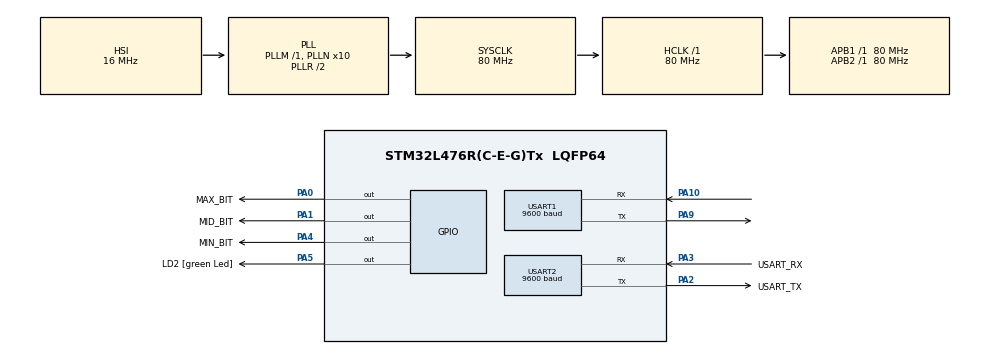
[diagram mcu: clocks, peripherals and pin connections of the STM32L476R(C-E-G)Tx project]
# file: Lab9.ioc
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Mcu.Family=STM32L4
Mcu.Name=STM32L476R(C-E-G)Tx
Mcu.Package=LQFP64
NVIC.PriorityGroup=NVIC_PRIORITYGROUP_4
NVIC.USART1_IRQn=true\:0\:0\:false\:false\:true\:true\:true\:true
NVIC.USART2_IRQn=true\:0\:0\:false\:false\:true\:true\:true\:true
PA0.GPIO_Label=MAX_BIT
PA0.Signal=GPIO_Output
PA1.GPIO_Label=MID_BIT
PA1.Signal=GPIO_Output
PA10.Mode=Asynchronous
PA10.Signal=USART1_RX
PA13\ (JTMS-SWDIO).GPIO_Label=TMS
PA13\ (JTMS-SWDIO).Mode=Serial_Wire
PA13\ (JTMS-SWDIO).Signal=SYS_JTMS-SWDIO
PA14\ (JTCK-SWCLK).GPIO_Label=TCK
PA14\ (JTCK-SWCLK).Mode=Serial_Wire
PA14\ (JTCK-SWCLK).Signal=SYS_JTCK-SWCLK
PA2.GPIO_Label=USART_TX
PA2.GPIO_Mode=GPIO_MODE_AF_PP
PA2.GPIO_PuPd=GPIO_NOPULL
PA2.GPIO_Speed=GPIO_SPEED_FREQ_VERY_HIGH
PA2.Mode=Asynchronous
PA2.Signal=USART2_TX
PA3.GPIO_Label=USART_RX
PA3.GPIO_Mode=GPIO_MODE_AF_PP
PA3.GPIO_PuPd=GPIO_NOPULL
PA3.GPIO_Speed=GPIO_SPEED_FREQ_VERY_HIGH
PA3.Mode=Asynchronous
PA3.Signal=USART2_RX
PA4.GPIO_Label=MIN_BIT
PA4.Signal=GPIO_Output
PA5.GPIO_Label=LD2 [green Led]
PA5.GPIO_ModeDefaultOutputPP=GPIO_MODE_OUTPUT_PP
PA5.GPIO_PuPd=GPIO_NOPULL
PA5.GPIO_Speed=GPIO_SPEED_FREQ_LOW
PA5.Signal=GPIO_Output
PA9.Mode=Asynchronous
PA9.Signal=USART1_TX
PB3\ (JTDO-TRACESWO).GPIO_Label=SWO
PB3\ (JTDO-TRACESWO).Signal=SYS_JTDO-SWO
PC14-OSC32_IN\ (PC14).Mode=LSE-External-Oscillator
PC14-OSC32_IN\ (PC14).Signal=RCC_OSC32_IN
PC15-OSC32_OUT\ (PC15).Mode=LSE-External-Oscillator
PC15-OSC32_OUT\ (PC15).Signal=RCC_OSC32_OUT
PH0-OSC_IN\ (PH0).Signal=RCC_OSC_IN
PH1-OSC_OUT\ (PH1).Signal=RCC_OSC_OUT
ProjectManager.HeapSize=0x200
ProjectManager.StackSize=0x400
ProjectManager.TargetToolchain=STM32CubeIDE
RCC.ADCFreq_Value=64000000
RCC.AHBFreq_Value=80000000
RCC.APB1Freq_Value=80000000
RCC.APB1TimFreq_Value=80000000
RCC.APB2Freq_Value=80000000
RCC.APB2TimFreq_Value=80000000
RCC.CortexFreq_Value=80000000
RCC.HCLKFreq_Value=80000000
RCC.HSE_VALUE=8000000
RCC.HSI_VALUE=16000000
RCC.MSI_VALUE=4000000
RCC.PLLN=10
RCC.PLLSourceVirtual=RCC_PLLSOURCE_HSI
RCC.PREFETCH_ENABLE=1
RCC.SYSCLKFreq_VALUE=80000000
RCC.SYSCLKSource=RCC_SYSCLKSOURCE_PLLCLK
RCC.USBFreq_Value=64000000
RCC.VCOOutputFreq_Value=160000000
USART1.BaudRate=9600
USART1.VirtualMode-Asynchronous=VM_ASYNC
USART2.BaudRate=9600
USART2.VirtualMode-Asynchronous=VM_ASYNC
board=NUCLEO-L476RG

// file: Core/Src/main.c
/* USER CODE BEGIN Header */
/**
  ******************************************************************************
  * @file           : main.c
  * @brief          : Main program body
  ******************************************************************************
  * @attention
  *
  * Copyright (c) 2024 STMicroelectronics.
  * All rights reserved.
  *
  * This software is licensed under terms that can be found in the LICENSE file
  * in the root directory of this software component.
  * If no LICENSE file comes with this software, it is provided AS-IS.
  *
  ******************************************************************************
  */
/* USER CODE END Header */
#include "main.h"

/* USER CODE BEGIN Includes */
#include "string.h" // library for C strings
#include <stdbool.h> // library for bool data type
/* USER CODE END Includes */

/* USER CODE BEGIN PM */
#define UART_DELAY 100 // wait max of 100 ms between frames in message
#define MAX_MESSAGE_SIZE 100 // 100 characters maximum message size
/* USER CODE END PM */

UART_HandleTypeDef huart1;
UART_HandleTypeDef huart2;

/* USER CODE BEGIN PV */
uint8_t message[MAX_MESSAGE_SIZE] = {0}; // char array to store message received
uint8_t response[MAX_MESSAGE_SIZE] = {0}; // char array to store response message
uint8_t uart1_byte; // byte received from UART1
uint8_t uart2_byte; // byte received from UART2
uint8_t buffer_position = 0; // how many bytes received so far
bool blink0 = false;// LED blink status
bool blink1 = false; // max bit
bool blink2 = false; // mid bit
bool blink3 = false; // min bit

/* USER CODE END PV */

void SystemClock_Config(void);
static void MX_GPIO_Init(void);
static void MX_USART2_UART_Init(void);
static void MX_USART1_UART_Init(void);

int main(void)
{

  /* MCU Configuration--------------------------------------------------------*/

  /* Reset of all peripherals, Initializes the Flash interface and the Systick. */
  HAL_Init();

  /* Configure the system clock */
  SystemClock_Config();

  /* Initialize all configured peripherals */
  MX_GPIO_Init();
  MX_USART2_UART_Init();
  MX_USART1_UART_Init();
  /* USER CODE BEGIN 2 */
  // Start UART1 and UART2 to receive interrupts
  HAL_UART_Receive_IT(&huart1, &uart1_byte, 1); // put byte from UART1 in "uart1_byte"
  HAL_UART_Receive_IT(&huart2, &uart2_byte, 1); // put byte from UART2 in "uart2_byte"

  /* USER CODE END 2 */

  /* Infinite loop */
  while (1)
  {

    /* USER CODE BEGIN 3 */
	  if (blink0){
	   HAL_GPIO_TogglePin(LD2_GPIO_Port, LD2_Pin); // Toggle LED2
	   HAL_Delay(200); // wait 200 ms
	  }
	  if (blink1){
	   	HAL_GPIO_TogglePin(MAX_BIT_GPIO_Port, MAX_BIT_Pin); // Toggle max bit
	   	HAL_Delay(200); // wait 200 ms
	  }
	  if (blink2){
	  	   	HAL_GPIO_TogglePin(MID_BIT_GPIO_Port, MID_BIT_Pin); // Toggle mid bit
	  	   	HAL_Delay(200); // wait 200 ms
	  }
	  if (blink3){
	  	   	HAL_GPIO_TogglePin(MIN_BIT_GPIO_Port, MIN_BIT_Pin); // Toggle min bit
	  	   	HAL_Delay(200); // wait 200 ms
	  }
  }
  /* USER CODE END 3 */
}

void SystemClock_Config(void)
{
  RCC_OscInitTypeDef RCC_OscInitStruct = {0};
  RCC_ClkInitTypeDef RCC_ClkInitStruct = {0};

  /** Configure the main internal regulator output voltage
  */
  if (HAL_PWREx_ControlVoltageScaling(PWR_REGULATOR_VOLTAGE_SCALE1) != HAL_OK)
  {
    Error_Handler();
  }

  /** Initializes the RCC Oscillators according to the specified parameters
  * in the RCC_OscInitTypeDef structure.
  */
  RCC_OscInitStruct.OscillatorType = RCC_OSCILLATORTYPE_HSI;
  RCC_OscInitStruct.HSIState = RCC_HSI_ON;
  RCC_OscInitStruct.HSICalibrationValue = RCC_HSICALIBRATION_DEFAULT;
  RCC_OscInitStruct.PLL.PLLState = RCC_PLL_ON;
  RCC_OscInitStruct.PLL.PLLSource = RCC_PLLSOURCE_HSI;
  RCC_OscInitStruct.PLL.PLLM = 1;
  RCC_OscInitStruct.PLL.PLLN = 10;
  RCC_OscInitStruct.PLL.PLLP = RCC_PLLP_DIV7;
  RCC_OscInitStruct.PLL.PLLQ = RCC_PLLQ_DIV2;
  RCC_OscInitStruct.PLL.PLLR = RCC_PLLR_DIV2;
  if (HAL_RCC_OscConfig(&RCC_OscInitStruct) != HAL_OK)
  {
    Error_Handler();
  }

  /** Initializes the CPU, AHB and APB buses clocks
  */
  RCC_ClkInitStruct.ClockType = RCC_CLOCKTYPE_HCLK|RCC_CLOCKTYPE_SYSCLK
                              |RCC_CLOCKTYPE_PCLK1|RCC_CLOCKTYPE_PCLK2;
  RCC_ClkInitStruct.SYSCLKSource = RCC_SYSCLKSOURCE_PLLCLK;
  RCC_ClkInitStruct.AHBCLKDivider = RCC_SYSCLK_DIV1;
  RCC_ClkInitStruct.APB1CLKDivider = RCC_HCLK_DIV1;
  RCC_ClkInitStruct.APB2CLKDivider = RCC_HCLK_DIV1;

  if (HAL_RCC_ClockConfig(&RCC_ClkInitStruct, FLASH_LATENCY_4) != HAL_OK)
  {
    Error_Handler();
  }
}

static void MX_USART1_UART_Init(void)
{

  huart1.Instance = USART1;
  huart1.Init.BaudRate = 9600;
  huart1.Init.WordLength = UART_WORDLENGTH_8B;
  huart1.Init.StopBits = UART_STOPBITS_1;
  huart1.Init.Parity = UART_PARITY_NONE;
  huart1.Init.Mode = UART_MODE_TX_RX;
  huart1.Init.HwFlowCtl = UART_HWCONTROL_NONE;
  huart1.Init.OverSampling = UART_OVERSAMPLING_16;
  huart1.Init.OneBitSampling = UART_ONE_BIT_SAMPLE_DISABLE;
  huart1.AdvancedInit.AdvFeatureInit = UART_ADVFEATURE_NO_INIT;
  if (HAL_UART_Init(&huart1) != HAL_OK)
  {
    Error_Handler();
  }

}

static void MX_USART2_UART_Init(void)
{

  huart2.Instance = USART2;
  huart2.Init.BaudRate = 9600;
  huart2.Init.WordLength = UART_WORDLENGTH_8B;
  huart2.Init.StopBits = UART_STOPBITS_1;
  huart2.Init.Parity = UART_PARITY_NONE;
  huart2.Init.Mode = UART_MODE_TX_RX;
  huart2.Init.HwFlowCtl = UART_HWCONTROL_NONE;
  huart2.Init.OverSampling = UART_OVERSAMPLING_16;
  huart2.Init.OneBitSampling = UART_ONE_BIT_SAMPLE_DISABLE;
  huart2.AdvancedInit.AdvFeatureInit = UART_ADVFEATURE_NO_INIT;
  if (HAL_UART_Init(&huart2) != HAL_OK)
  {
    Error_Handler();
  }

}

static void MX_GPIO_Init(void)
{
  GPIO_InitTypeDef GPIO_InitStruct = {0};

  /* GPIO Ports Clock Enable */
  __HAL_RCC_GPIOC_CLK_ENABLE();
  __HAL_RCC_GPIOH_CLK_ENABLE();
  __HAL_RCC_GPIOA_CLK_ENABLE();
  __HAL_RCC_GPIOB_CLK_ENABLE();

  /*Configure GPIO pin Output Level */
  HAL_GPIO_WritePin(GPIOA, MAX_BIT_Pin|MID_BIT_Pin|MIN_BIT_Pin|LD2_Pin, GPIO_PIN_RESET);

  /*Configure GPIO pins : MAX_BIT_Pin MID_BIT_Pin MIN_BIT_Pin LD2_Pin */
  GPIO_InitStruct.Pin = MAX_BIT_Pin|MID_BIT_Pin|MIN_BIT_Pin|LD2_Pin;
  GPIO_InitStruct.Mode = GPIO_MODE_OUTPUT_PP;
  GPIO_InitStruct.Pull = GPIO_NOPULL;
  GPIO_InitStruct.Speed = GPIO_SPEED_FREQ_LOW;
  HAL_GPIO_Init(GPIOA, &GPIO_InitStruct);

}

/* USER CODE BEGIN 4 */
void HAL_UART_RxCpltCallback(UART_HandleTypeDef *huart) {
	// Check if byte received was on UART2 (from laptop)
	if (huart == &huart2) {
		// If we get here, we received a byte from UART2 and it was placed in "uart2_byte"
		// Take byte received from my laptop over UART2 and send to lab partner over UART1
		HAL_UART_Transmit(&huart1, &uart2_byte, 1, UART_DELAY);
		// Restart UART2's receive interrupt to wait for next byte from laptop
		HAL_UART_Receive_IT(&huart2, &uart2_byte, 1); //start next byte receive interrupt
	}
	// Check if byte received was on UART1 (from lab partner)
	if (huart == &huart1) {
		if ((uart1_byte != '\r') && (uart1_byte != '\n')
				&& (uart1_byte != '\0')) {
			// Add uart2_byte to the message
			message[buffer_position] = uart1_byte;
			buffer_position++;
		} else {

			// If we get here, it means we received \r, \n, or \0 and the message is over
			// If we get here, we received a byte from UART1 and it was placed in "uart1_byte"
			// Take byte received from lab partner over UART1 and send to my laptop over UART2
			HAL_UART_Transmit(&huart2, &uart1_byte, 1, UART_DELAY);

			// Check message
			if (strcmp((char*) message, "LED2_ON") == 0) {

				// If "LED2_ON\n" was the message received -> Turn on LED2
				HAL_GPIO_WritePin(LD2_GPIO_Port, LD2_Pin, GPIO_PIN_SET);
				blink0 = false;

				// Prepare response message
				strncpy((char*) response, "Task complete - LED2 turned on.\n\r",
				MAX_MESSAGE_SIZE);

			} else if (strcmp((char*) message, "LED2_OFF") == 0) {

				// If "LED2_OFF\n" was the message received -> Turn off LED2
				HAL_GPIO_WritePin(LD2_GPIO_Port, LD2_Pin, GPIO_PIN_RESET);
				blink0 = false;

				// Prepare response message
				strncpy((char*) response,
						"Task complete - LED2 turned off.\n\r",
						MAX_MESSAGE_SIZE);
			}else if (strcmp((char*) message, "MAX_ON") == 0) {

					// If "LED2_ON\n" was the message received -> Turn on LED2
					HAL_GPIO_WritePin(MAX_BIT_GPIO_Port, MAX_BIT_Pin, GPIO_PIN_SET);
					blink1 = false;

					// Prepare response message
					strncpy((char*) response, "Task complete - Max Bit turned on.\n\r",
					MAX_MESSAGE_SIZE);

				} else if (strcmp((char*) message, "MAX_OFF") == 0) {

					// If "LED2_OFF\n" was the message received -> Turn off LED2
					HAL_GPIO_WritePin(MAX_BIT_GPIO_Port, MAX_BIT_Pin, GPIO_PIN_RESET);
					blink1 = false;

					// Prepare response message
					strncpy((char*) response,
							"Task complete - Max Bit turned off.\n\r",
							MAX_MESSAGE_SIZE);
				}else if (strcmp((char*) message, "MID_ON") == 0) {

						// If "LED2_ON\n" was the message received -> Turn on LED2
						HAL_GPIO_WritePin(MID_BIT_GPIO_Port, MID_BIT_Pin, GPIO_PIN_SET);
						blink2 = false;

						// Prepare response message
						strncpy((char*) response, "Task complete - Mid Bit turned on.\n\r",
						MAX_MESSAGE_SIZE);

					} else if (strcmp((char*) message, "MID_OFF") == 0) {

						// If "LED2_OFF\n" was the message received -> Turn off LED2
						HAL_GPIO_WritePin(MID_BIT_GPIO_Port, MID_BIT_Pin, GPIO_PIN_RESET);
						blink2 = false;

						// Prepare response message
						strncpy((char*) response,
								"Task complete - Mid Bit turned off.\n\r",
								MAX_MESSAGE_SIZE);
					}else if (strcmp((char*) message, "MIN_ON") == 0) {

							// If "LED2_ON\n" was the message received -> Turn on LED2
							HAL_GPIO_WritePin(MIN_BIT_GPIO_Port, MIN_BIT_Pin, GPIO_PIN_SET);
							blink3 = false;

							// Prepare response message
							strncpy((char*) response, "Task complete - Min Pin turned on.\n\r",
							MAX_MESSAGE_SIZE);

						} else if (strcmp((char*) message, "MIN_OFF") == 0) {

							// If "LED2_OFF\n" was the message received -> Turn off LED2
							HAL_GPIO_WritePin(MIN_BIT_GPIO_Port, MIN_BIT_Pin, GPIO_PIN_RESET);
							blink3 = false;

							// Prepare response message
							strncpy((char*) response,
									"Task complete - Min Bit turned off.\n\r",
									MAX_MESSAGE_SIZE);

			} else if (strcmp((char*) message, "LED2_BLINK") == 0) {

				// If "LED2_BLINK" was the message received -> tell main() to blink LED2
				blink0 = true;

				// Prepare response message
				strncpy((char*) response, "Task complete - LED2 blinking.\n\r",
				MAX_MESSAGE_SIZE);

			} else if (strcmp((char*) message, "MAX_BLINK") == 0) {

				// If "MAX_BLINK" was the message received -> tell main() to blink PA0 LED
				blink1 = true;

				// Prepare response message
				strncpy((char*) response, "Task complete - PA0 blinking.\n\r",
				MAX_MESSAGE_SIZE);

			} else if (strcmp((char*) message, "MID_BLINK") == 0) {

				// If "MID_BLINK" was the message received -> tell main() to blink PA1 LED
				blink2 = true;

				// Prepare response message
				strncpy((char*) response, "Task complete - PA1 blinking.\n\r",
				MAX_MESSAGE_SIZE);

			} else if (strcmp((char*) message, "MIN_BLINK") == 0) {

				// If "MIN_BLINK" was the message received -> tell main() to blink PA4 LED
				blink3 = true;

				// Prepare response message
				strncpy((char*) response, "Task complete - PA4 blinking.\n\r",
				MAX_MESSAGE_SIZE);

			} else {

				// Else message was not recognized
				strncpy((char*) response, "Task not recognized.\n\r",
				MAX_MESSAGE_SIZE);
			}

			// Send the response message to laptop
			HAL_UART_Transmit(&huart2, response, strlen(response), UART_DELAY);

			// Zero out message array and response array to get ready for the next message
			memset(message, 0, sizeof(message));
			memset(response, 0, sizeof(response));
			buffer_position = 0;
		}
		// Restart UART1's receive interrupt to wait for next byte
		HAL_UART_Receive_IT(&huart1, &uart1_byte, 1); //start next byte receive interrupt
	}
}

/* USER CODE END 4 */

void Error_Handler(void)
{
  __disable_irq();
  while (1)
  {
  }
}
